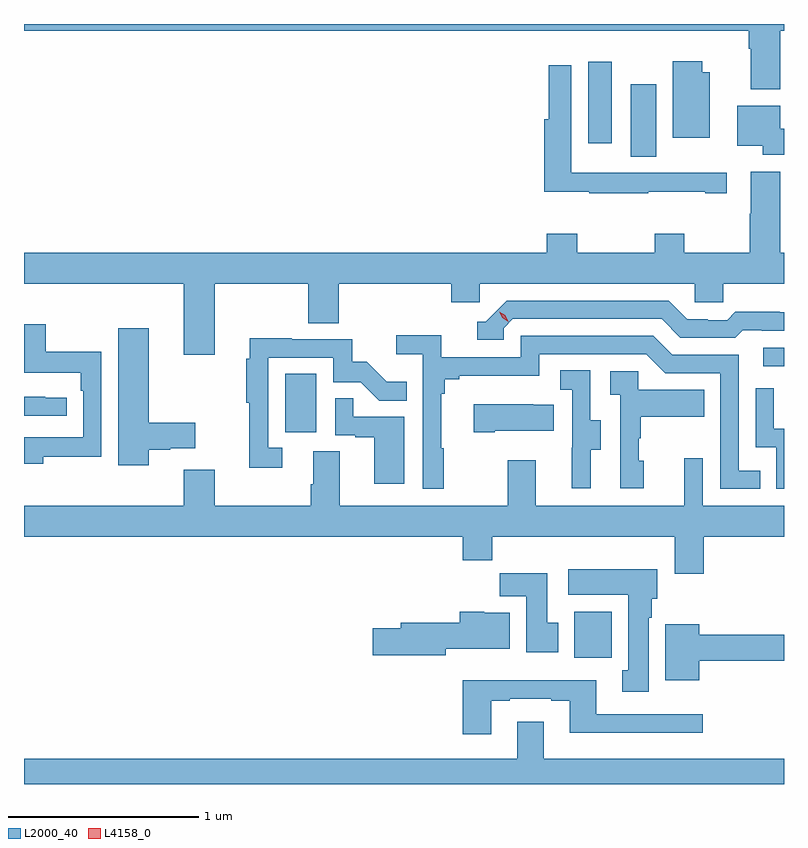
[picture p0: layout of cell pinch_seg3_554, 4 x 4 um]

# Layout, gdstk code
import gdstk
lib = gdstk.Library(unit=1e-6, precision=1e-09)
def R(c, l, rs):  # rectangles x0, y0, x1, y1
    for r in rs: c.add(gdstk.rectangle(r[:2], r[2:], *l))
def P(c, l, *ps):  # polygons
    for p in ps: c.add(gdstk.Polygon(p, *l))
L2000_40 = (2000, 40)
L4158_0 = (4158, 0)

pinch_seg3_554 = lib.new_cell('pinch_seg3_554')
R(pinch_seg3_554, L2000_40, [(1138.091,690.956,1138.288,691.198), (1136.57,692.142,1136.734,692.449), (1139.085,692.49,1139.195,692.586), (1138.388,693.592,1138.522,693.973), (1138.166,693.663,1138.288,694.093)])
P(pinch_seg3_554, L2000_40, [(1139.174,694.256),(1139.195,694.256),(1139.195,694.291),(1135.195,694.291),(1135.195,694.256),(1139.009,694.256),(1139.009,694.16),(1139.021,694.16),(1139.021,693.947),(1139.174,693.947)],
  [(1138.804,694.036),(1138.765,694.036),(1138.765,694.096),(1138.61,694.096),(1138.61,693.692),(1138.804,693.692)],
  [(1138.481,693.409),(1138.781,693.409),(1138.781,693.399),(1138.894,693.399),(1138.894,693.509),(1138.618,693.509),(1138.618,693.507),(1138.284,693.507),(1138.284,693.508),(1138.074,693.508),(1138.074,694.075),(1137.958,694.075),(1137.958,693.79),(1137.932,693.79),(1137.932,693.409),(1138.171,693.409),(1138.171,693.399),(1138.481,693.399)],
  [(1139.195,693.74),(1139.176,693.74),(1139.176,693.862),(1138.949,693.862),(1138.949,693.65),(1139.082,693.65),(1139.082,693.604),(1139.195,693.604)],
  [(1136.2,692.924),(1136.692,692.924),(1136.692,692.716),(1136.852,692.716),(1136.852,692.924),(1137.443,692.924),(1137.443,692.826),(1137.594,692.826),(1137.594,692.924),(1138.725,692.924),(1138.725,692.826),(1138.875,692.826),(1138.875,692.924),(1139.195,692.924),(1139.195,693.088),(1139.174,693.088),(1139.174,693.514),(1139.021,693.514),(1139.021,693.293),(1139.014,693.293),(1139.014,693.088),(1138.671,693.088),(1138.671,693.187),(1138.516,693.187),(1138.516,693.088),(1138.107,693.088),(1138.107,693.187),(1137.947,693.187),(1137.947,693.088),(1135.195,693.088),(1135.195,692.924),(1136.036,692.924),(1136.036,692.55),(1136.2,692.55)],
  [(1137.72,692.691),(1137.768,692.739),(1138.551,692.739),(1138.65,692.64),(1138.939,692.64),(1138.978,692.679),(1139.077,692.679),(1139.077,692.676),(1139.195,692.676),(1139.195,692.773),(1139.172,692.773),(1139.172,692.776),(1138.939,692.776),(1138.897,692.733),(1138.794,692.733),(1138.794,692.736),(1138.687,692.736),(1138.588,692.835),(1137.735,692.835),(1137.624,692.724),(1137.581,692.724),(1137.581,692.628),(1137.72,692.628)],
  [(1135.297,692.014),(1135.602,692.014),(1135.602,692.566),(1135.309,692.566),(1135.309,692.712),(1135.195,692.712),(1135.195,692.456),(1135.493,692.456),(1135.493,692.36),(1135.506,692.36),(1135.506,692.115),(1135.195,692.115),(1135.195,691.976),(1135.297,691.976)],
  [(1135.852,692.05),(1135.965,692.05),(1135.965,692.057),(1136.095,692.057),(1136.095,692.192),(1135.852,692.192),(1135.852,692.689),(1135.691,692.689),(1135.691,691.968),(1135.852,691.968)],
  [(1137.403,692.057),(1137.391,692.057),(1137.391,692.345),(1137.41,692.345),(1137.41,692.422),(1137.487,692.422),(1137.487,692.441),(1137.906,692.441),(1137.906,692.553),(1138.47,692.553),(1138.569,692.454),(1138.86,692.454),(1138.86,691.845),(1139.069,691.845),(1139.069,691.941),(1138.956,691.941),(1138.956,692.55),(1138.606,692.55),(1138.507,692.649),(1137.81,692.649),(1137.81,692.538),(1137.392,692.538),(1137.392,692.654),(1137.153,692.654),(1137.153,692.552),(1137.294,692.552),(1137.294,691.845),(1137.403,691.845)],
  [(1136.554,692.061),(1136.481,692.061),(1136.481,692.535),(1136.823,692.535),(1136.823,692.406),(1136.967,692.406),(1137.065,692.308),(1137.209,692.308),(1137.209,692.407),(1137.105,692.407),(1136.998,692.514),(1136.922,692.514),(1136.922,692.631),(1136.603,692.631),(1136.603,692.636),(1136.384,692.636),(1136.384,692.528),(1136.365,692.528),(1136.365,692.298),(1136.38,692.298),(1136.38,691.956),(1136.554,691.956)],
  [(1138.177,692.05),(1138.231,692.05),(1138.231,692.205),(1138.176,692.205),(1138.176,692.468),(1138.017,692.468),(1138.017,692.365),(1138.08,692.365),(1138.08,692.061),(1138.079,692.061),(1138.079,691.848),(1138.177,691.848)],
  [(1138.456,691.992),(1138.431,691.992),(1138.431,692.111),(1138.441,692.111),(1138.441,692.225),(1138.775,692.225),(1138.775,692.365),(1138.428,692.365),(1138.428,692.463),(1138.281,692.463),(1138.281,692.339),(1138.332,692.339),(1138.332,691.848),(1138.456,691.848)],
  [(1139.195,692.162),(1139.142,692.162),(1139.142,692.374),(1139.046,692.374),(1139.046,692.064),(1139.154,692.064),(1139.154,691.845),(1139.195,691.845)],
  [(1135.42,692.325),(1135.307,692.325),(1135.307,692.33),(1135.195,692.33),(1135.195,692.229),(1135.42,692.229)],
  [(1137.196,692.223),(1136.927,692.223),(1136.927,692.321),(1136.832,692.321),(1136.832,692.127),(1136.939,692.127),(1136.939,692.115),(1137.038,692.115),(1137.038,691.872),(1137.196,691.872)],
  [(1137.673,692.15),(1137.983,692.15),(1137.983,692.287),(1137.875,692.287),(1137.875,692.29),(1137.561,692.29),(1137.561,692.143),(1137.673,692.143)],
  [(1138.772,691.592),(1139.195,691.592),(1139.195,691.756),(1138.767,691.756),(1138.767,692.005),(1138.67,692.005),(1138.67,691.756),(1137.889,691.756),(1137.889,691.996),(1137.742,691.996),(1137.742,691.756),(1136.857,691.756),(1136.857,692.042),(1136.717,692.042),(1136.717,691.868),(1136.705,691.868),(1136.705,691.756),(1136.2,691.756),(1136.2,691.945),(1136.036,691.945),(1136.036,691.756),(1135.195,691.756),(1135.195,691.592),(1137.503,691.592),(1137.503,691.468),(1137.659,691.468),(1137.659,691.592),(1138.619,691.592),(1138.619,691.398),(1138.772,691.398)],
  [(1138.483,691.166),(1138.498,691.166),(1138.498,691.266),(1138.528,691.266),(1138.528,691.42),(1138.059,691.42),(1138.059,691.286),(1138.376,691.286),(1138.376,690.89),(1138.343,690.89),(1138.343,690.777),(1138.483,690.777)],
  [(1138.006,691.14),(1137.949,691.14),(1137.949,691.399),(1137.7,691.399),(1137.7,691.28),(1137.839,691.28),(1137.839,690.984),(1138.006,690.984)],
  [(1137.414,691.004),(1137.751,691.004),(1137.751,691.192),(1137.618,691.192),(1137.618,691.198),(1137.488,691.198),(1137.488,691.14),(1137.179,691.14),(1137.179,691.11),(1137.03,691.11),(1137.03,690.968),(1137.414,690.968)],
  [(1138.75,690.94),(1139.195,690.94),(1139.195,691.076),(1138.75,691.076),(1138.75,691.132),(1138.571,691.132),(1138.571,690.836),(1138.75,690.836)],
  [(1137.655,690.729),(1137.751,690.729),(1137.751,690.741),(1137.971,690.741),(1137.971,690.729),(1138.067,690.729),(1138.067,690.56),(1138.768,690.56),(1138.768,690.657),(1138.207,690.657),(1138.207,690.838),(1137.503,690.838),(1137.503,690.552),(1137.655,690.552)],
  [(1139.195,690.424),(1137.931,690.424),(1137.931,690.619),(1137.791,690.619),(1137.791,690.424),(1135.195,690.424),(1135.195,690.291),(1139.195,690.291)])
P(pinch_seg3_554, L4158_0, [(1137.743,692.724),(1137.712,692.744),(1137.696,692.776),(1137.696,692.776),(1137.696,692.776),(1137.727,692.757),(1137.743,692.724),(1137.743,692.724)])

lib.write_gds('pinch_seg3_554.gds')
